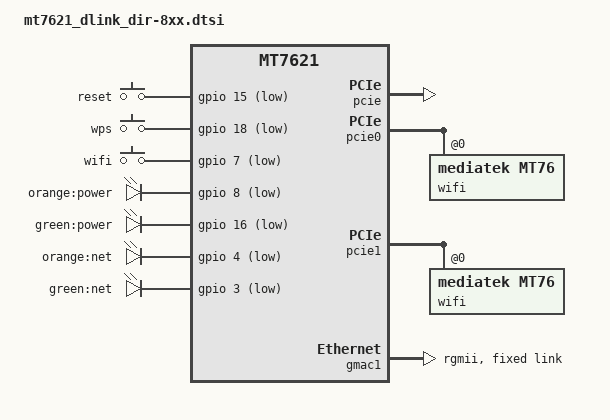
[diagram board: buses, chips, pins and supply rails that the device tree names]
// SPDX-License-Identifier: GPL-2.0-or-later OR MIT

#include "mt7621.dtsi"

#include <dt-bindings/gpio/gpio.h>
#include <dt-bindings/input/input.h>

/ {
	aliases {
		label-mac-device = &gmac0;
		led-boot = &led_power_orange;
		led-failsafe = &led_power_green;
		led-running = &led_power_green;
		led-upgrade = &led_net_orange;
	};

	keys {
		compatible = "gpio-keys";

		reset {
			label = "reset";
			gpios = <&gpio 15 GPIO_ACTIVE_LOW>;
			linux,code = <KEY_RESTART>;
		};

		wps {
			label = "wps";
			gpios = <&gpio 18 GPIO_ACTIVE_LOW>;
			linux,code = <KEY_WPS_BUTTON>;
		};

		wifi {
			label = "wifi";
			gpios = <&gpio 7 GPIO_ACTIVE_LOW>;
			linux,code = <KEY_RFKILL>;
		};
	};

	leds: leds {
		compatible = "gpio-leds";

		led_power_orange: power_orange {
			label = "orange:power";
			gpios = <&gpio 8 GPIO_ACTIVE_LOW>;
		};

		led_power_green: power_green {
			label = "green:power";
			gpios = <&gpio 16 GPIO_ACTIVE_LOW>;
		};

		led_net_orange: net_orange {
			label = "orange:net";
			gpios = <&gpio 4 GPIO_ACTIVE_LOW>;
		};

		net_green {
			label = "green:net";
			gpios = <&gpio 3 GPIO_ACTIVE_LOW>;
		};
	};
};

&pcie {
	status = "okay";
};

&pcie0 {
	wifi@0,0 {
		compatible = "mediatek,mt76";
		reg = <0x0000 0 0 0 0>;
		mediatek,mtd-eeprom = <&factory 0x0000>;
		ieee80211-freq-limit = <2400000 2500000>;

		led {
			led-active-low;
		};
	};
};

&pcie1 {
	wifi@0,0 {
		compatible = "mediatek,mt76";
		reg = <0x0000 0 0 0 0>;
		mediatek,mtd-eeprom = <&factory 0x8000>;
		ieee80211-freq-limit = <5000000 6000000>;

		led {
			led-active-low;
		};
	};
};

&ethernet {
	pinctrl-names = "default";
	pinctrl-0 = <&rgmii1_pins &rgmii2_pins &mdio_pins>;
};

&gmac0 {
	mtd-mac-address = <&factory 0xe000>;
};

&gmac1 {
	status = "okay";
	phy-mode = "rgmii";
	mtd-mac-address = <&factory 0xe006>;

	fixed-link {
		speed = <1000>;
		full-duplex;
		pause;
	};
};

&switch0 {
	ports {
		port@0 {
			status = "okay";
			label = "lan4";
			default-cpu = <&dsa_cpu0>;
		};

		port@1 {
			status = "okay";
			label = "lan3";
			default-cpu = <&dsa_cpu0>;
		};

		port@2 {
			status = "okay";
			label = "lan2";
			default-cpu = <&dsa_cpu0>;
		};

		port@3 {
			status = "okay";
			label = "lan1";
			default-cpu = <&dsa_cpu0>;
		};

		port@4 {
			status = "okay";
			label = "wan";
			default-cpu = <&dsa_cpu1>;
		};

		dsa_cpu1: port@5 {
			reg = <5>;
			label = "cpu";
			ethernet = <&gmac1>;
			phy-mode = "rgmii";

			fixed-link {
				speed = <1000>;
				full-duplex;
				pause;
			};
		};
	};
};

&state_default {
	gpio {
		groups = "i2c", "uart3", "jtag", "wdt";
		function = "gpio";
	};
};
